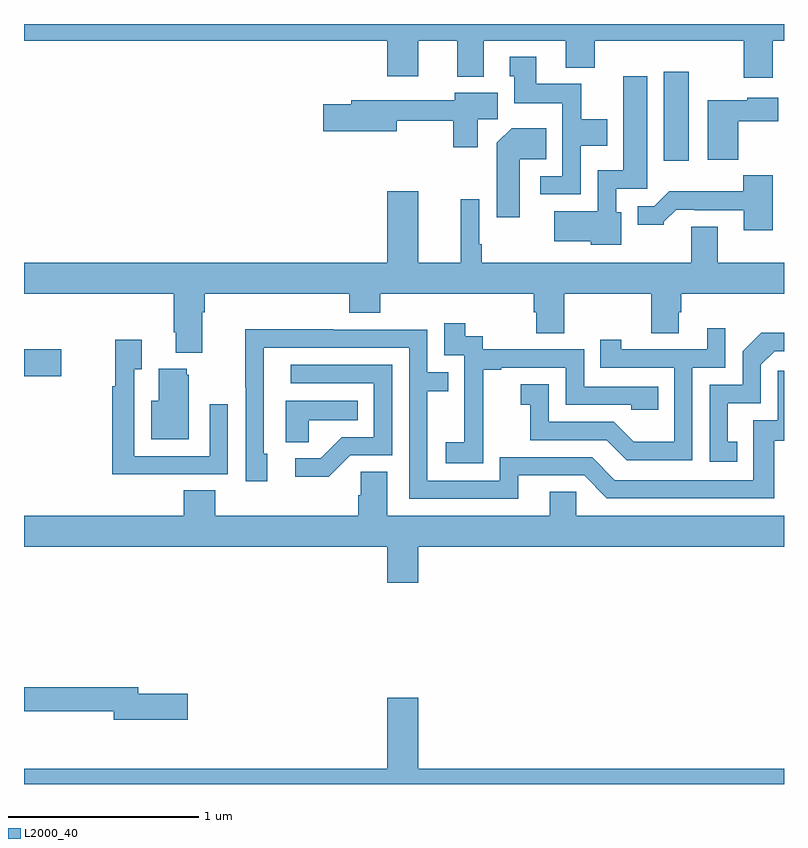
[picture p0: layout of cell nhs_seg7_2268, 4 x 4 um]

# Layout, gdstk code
import gdstk
lib = gdstk.Library(unit=1e-6, precision=1e-09)
def R(c, l, rs):  # rectangles x0, y0, x1, y1
    for r in rs: c.add(gdstk.rectangle(r[:2], r[2:], *l))
def P(c, l, *ps):  # polygons
    for p in ps: c.add(gdstk.Polygon(p, *l))
L2000_40 = (2000, 40)

nhs_seg7_2268 = lib.new_cell('nhs_seg7_2268')
R(nhs_seg7_2268, L2000_40, [(259,1036.145,259.195,1036.287), (262.367,1037.28,262.498,1037.749)])
P(nhs_seg7_2268, L2000_40, [(262.94,1037.912),(263,1037.912),(263,1038),(259,1038),(259,1037.912),(260.912,1037.912),(260.912,1037.724),(261.076,1037.724),(261.076,1037.912),(261.281,1037.912),(261.281,1037.723),(261.421,1037.723),(261.421,1037.912),(261.851,1037.912),(261.851,1037.771),(262.004,1037.771),(262.004,1037.912),(262.787,1037.912),(262.787,1037.718),(262.94,1037.718)],
  [(261.93,1037.36),(262.069,1037.36),(262.069,1037.5),(261.933,1037.5),(261.933,1037.686),(261.697,1037.686),(261.697,1037.827),(261.557,1037.827),(261.557,1037.724),(261.581,1037.724),(261.581,1037.582),(261.834,1037.582),(261.834,1037.199),(261.717,1037.199),(261.717,1037.103),(261.93,1037.103)],
  [(262.144,1037.01),(262.116,1037.01),(262.116,1037.133),(262.279,1037.133),(262.279,1037.725),(262.154,1037.725),(262.154,1037.23),(262.02,1037.23),(262.02,1037.014),(261.791,1037.014),(261.791,1036.856),(261.984,1036.856),(261.984,1036.838),(262.144,1036.838)],
  [(261.388,1037.5),(261.493,1037.5),(261.493,1037.638),(261.266,1037.638),(261.266,1037.598),(260.723,1037.598),(260.723,1037.577),(260.574,1037.577),(260.574,1037.435),(260.962,1037.435),(260.962,1037.49),(261.259,1037.49),(261.259,1037.352),(261.388,1037.352)],
  [(262.76,1037.489),(262.969,1037.489),(262.969,1037.611),(262.806,1037.611),(262.806,1037.599),(262.598,1037.599),(262.598,1037.285),(262.76,1037.285)],
  [(261.61,1037.288),(261.749,1037.288),(261.749,1037.452),(261.566,1037.452),(261.488,1037.374),(261.488,1036.983),(261.61,1036.983)],
  [(262.94,1037.203),(262.785,1037.203),(262.785,1037.119),(262.396,1037.119),(262.317,1037.04),(262.229,1037.04),(262.229,1036.943),(262.368,1036.943),(262.368,1036.958),(262.432,1037.022),(262.531,1037.022),(262.531,1037.019),(262.787,1037.019),(262.787,1036.914),(262.94,1036.914)],
  [(259.939,1036.484),(259.952,1036.484),(259.952,1036.58),(260.711,1036.58),(260.711,1036.481),(260.876,1036.481),(260.876,1036.58),(261.683,1036.58),(261.683,1036.482),(261.695,1036.482),(261.695,1036.372),(261.843,1036.372),(261.843,1036.58),(262.3,1036.58),(262.3,1036.372),(262.447,1036.372),(262.447,1036.482),(262.46,1036.482),(262.46,1036.58),(263,1036.58),(263,1036.744),(262.651,1036.744),(262.651,1036.934),(262.511,1036.934),(262.511,1036.744),(261.409,1036.744),(261.409,1036.84),(261.396,1036.84),(261.396,1037.077),(261.298,1037.077),(261.298,1036.744),(261.076,1036.744),(261.076,1037.119),(260.912,1037.119),(260.912,1036.744),(259,1036.744),(259,1036.58),(259.787,1036.58),(259.787,1036.378),(259.799,1036.378),(259.799,1036.271),(259.939,1036.271)],
  [(261.416,1036.179),(261.511,1036.179),(261.511,1036.191),(261.852,1036.191),(261.852,1035.996),(262.197,1035.996),(262.197,1035.969),(262.337,1035.969),(262.337,1036.092),(261.948,1036.092),(261.948,1036.287),(261.414,1036.287),(261.414,1036.356),(261.322,1036.356),(261.322,1036.426),(261.213,1036.426),(261.213,1036.257),(261.318,1036.257),(261.318,1036.028),(261.317,1036.028),(261.317,1035.799),(261.219,1035.799),(261.219,1035.689),(261.416,1035.689)],
  [(262.518,1036.191),(262.692,1036.191),(262.692,1036.399),(262.595,1036.399),(262.595,1036.287),(262.144,1036.287),(262.144,1036.339),(262.033,1036.339),(262.033,1036.191),(262.422,1036.191),(262.422,1035.802),(262.208,1035.802),(262.104,1035.906),(261.762,1035.906),(261.762,1036.105),(261.615,1036.105),(261.615,1035.995),(261.664,1035.995),(261.664,1035.81),(262.067,1035.81),(262.172,1035.705),(262.518,1035.705)],
  [(261.601,1035.624),(261.948,1035.624),(262.068,1035.504),(262.948,1035.504),(262.948,1035.807),(263,1035.807),(263,1036.174),(262.968,1036.174),(262.968,1035.915),(262.839,1035.915),(262.839,1035.6),(262.11,1035.6),(261.99,1035.72),(261.504,1035.72),(261.504,1035.597),(261.123,1035.597),(261.123,1036.066),(261.233,1036.066),(261.233,1036.167),(261.123,1036.167),(261.123,1036.392),(260.627,1036.392),(260.627,1036.394),(260.164,1036.394),(260.164,1036.087),(260.166,1036.087),(260.166,1035.594),(260.281,1035.594),(260.281,1035.738),(260.262,1035.738),(260.262,1036.296),(261.027,1036.296),(261.027,1035.501),(261.601,1035.501)],
  [(262.754,1035.801),(262.705,1035.801),(262.705,1036.005),(262.878,1036.005),(262.878,1036.206),(262.95,1036.278),(263,1036.278),(263,1036.376),(262.88,1036.376),(262.782,1036.278),(262.782,1036.101),(262.608,1036.101),(262.608,1035.696),(262.754,1035.696)],
  [(259.757,1035.63),(260.073,1035.63),(260.073,1036),(259.977,1036),(259.977,1035.726),(259.581,1035.726),(259.581,1036.183),(259.621,1036.183),(259.621,1036.339),(259.48,1036.339),(259.48,1036.094),(259.465,1036.094),(259.465,1035.629),(259.757,1035.629)],
  [(260.718,1035.729),(260.937,1035.729),(260.937,1036.206),(260.403,1036.206),(260.403,1036.11),(260.841,1036.11),(260.841,1035.825),(260.672,1035.825),(260.561,1035.714),(260.427,1035.714),(260.427,1035.617),(260.605,1035.617)],
  [(259.867,1036.155),(259.856,1036.155),(259.856,1036.186),(259.709,1036.186),(259.709,1036.018),(259.67,1036.018),(259.67,1035.815),(259.867,1035.815)],
  [(260.499,1035.914),(260.756,1035.914),(260.756,1036.018),(260.378,1036.018),(260.378,1035.799),(260.499,1035.799)],
  [(261.076,1035.248),(263,1035.248),(263,1035.412),(261.906,1035.412),(261.906,1035.539),(261.767,1035.539),(261.767,1035.412),(260.911,1035.412),(260.911,1035.644),(260.772,1035.644),(260.772,1035.521),(260.759,1035.521),(260.759,1035.412),(260.006,1035.412),(260.006,1035.545),(259.841,1035.545),(259.841,1035.412),(259,1035.412),(259,1035.248),(260.912,1035.248),(260.912,1035.06),(261.076,1035.06)],
  [(259.861,1034.474),(259.6,1034.474),(259.6,1034.51),(259,1034.51),(259,1034.382),(259.472,1034.382),(259.472,1034.339),(259.861,1034.339)],
  [(263,1034.08),(261.076,1034.08),(261.076,1034.455),(260.912,1034.455),(260.912,1034.08),(259,1034.08),(259,1034),(263,1034)])

lib.write_gds('nhs_seg7_2268.gds')
